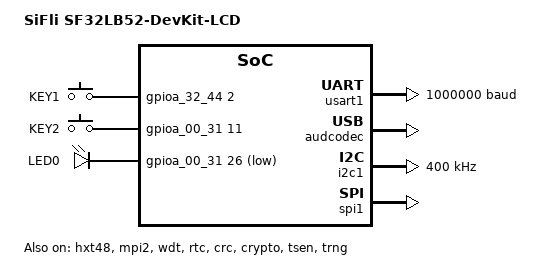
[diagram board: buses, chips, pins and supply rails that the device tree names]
/*
 * Copyright (c) 2025 Core Devices LLC
 * SPDX-License-Identifier: Apache-2.0
 */

/dts-v1/;

#include <sifli/sf32lb52x.dtsi>
#include <sifli/sf32lb52x-ram012.dtsi>
#include <zephyr/dt-bindings/dma/sf32lb52x-dma.h>
#include <zephyr/dt-bindings/gpio/gpio.h>
#include <zephyr/dt-bindings/i2c/i2c.h>
#include <zephyr/dt-bindings/input/input-event-codes.h>

#include "sf32lb52_devkit_lcd-pinctrl.dtsi"

/ {
	compatible = "sifli,sf32lb52-devkit-lcd";
	model = "SiFli SF32LB52-DevKit-LCD";

	chosen {
		zephyr,flash = &py25q128ha;
		zephyr,flash-controller = &mpi2;
		zephyr,code-partition = &code;
		zephyr,console = &usart1;
		zephyr,shell-uart = &usart1;
		zephyr,crc = &crc;
		zephyr,entropy = &trng;
		zephyr,bt-hci = &mailbox;
	};

	buttons {
		compatible = "gpio-keys";

		key1: key1 {
			label = "KEY1";
			gpios = <&gpioa_32_44 2 GPIO_ACTIVE_HIGH>;
			zephyr,code = <INPUT_KEY_1>;
		};

		key2: key2 {
			label = "KEY2";
			gpios = <&gpioa_00_31 11 GPIO_ACTIVE_HIGH>;
			zephyr,code = <INPUT_KEY_2>;
		};
	};

	leds {
		compatible = "gpio-leds";

		led0: led0 {
			label = "LED0";
			gpios = <&gpioa_00_31 26 GPIO_ACTIVE_LOW>;
		};
	};

	aliases {
		codec0 = &audcodec;
		led0 = &led0;
		sw0 = &key1;
		sw1 = &key2;
		rtc = &rtc;
		watchdog0 = &wdt;
	};
};

&cpu0 {
	clock-frequency = <DT_FREQ_M(240)>;
};

&hxt48 {
	status = "okay";
};

&rcc_clk {

	sifli,hdiv = <1>;
	sifli,pdiv1 = <1>;
	sifli,pdiv2 = <6>;
	sifli,sys-clk-src = "dll1";
	status = "okay";

	dll1 {
		clock-frequency = <DT_FREQ_M(240)>;
		status = "okay";
	};
};

&rcc_rst {
	status = "okay";
};

&gpioa_00_31 {
	status = "okay";
};

&gpioa_32_44 {
	status = "okay";
};

&dmac {
	status = "okay";
};

&mpi2 {
	compatible = "sifli,sf32lb-mpi-qspi-nor";
	dmas = <&dmac 0 SF32LB52X_DMA_REQ_MPI2 SF32LB_DMA_PL_MEDIUM>;
	sifli,psclr = <0>;
	sifli,lines = <4>;
	status = "okay";

	py25q128ha: flash@0 {
		compatible = "puya,py25q128ha", "jedec,qspi-nor";
		reg = <0x0>;
		size = <DT_SIZE_M(128)>;
		quad-enable-requirements = "S2B1v1";

		partitions {
			compatible = "fixed-partitions";
			#address-cells = <1>;
			#size-cells = <1>;

			ptable: partition@0 {
				reg = <0x0 DT_SIZE_K(64)>;
				label = "ptable";
			};

			code: partition@10000 {
				reg = <0x10000 DT_SIZE_K(16320)>;
				label = "code";
			};
		};
	};
};

&pinctrl {
	status = "okay";
};

&usart1 {
	current-speed = <1000000>;
	pinctrl-0 = <&usart1_default>;
	pinctrl-names = "default";
	status = "okay";
};

&audcodec {
	dmas = <&dmac 1 SF32LB52X_DMA_REQ_AUDAC_CH0 SF32LB_DMA_PL_HIGH>,
	       <&dmac 4 SF32LB52X_DMA_REQ_AUDADC_CH0 SF32LB_DMA_PL_HIGH>;
	dma-names = "tx", "rx";
	pa-power-gpios = <&gpioa_00_31 10 GPIO_ACTIVE_HIGH>;
	status = "okay";
};

&wdt {
	status = "okay";
};

&rtc {
	status = "okay";
};

&i2c1 {
	pinctrl-0 = <&i2c1_default>;
	pinctrl-names = "default";
	clock-frequency = <I2C_BITRATE_FAST>;
	status = "okay";
};

&crc {
	status = "okay";
};

&crypto {
	status = "okay";
};

temp_sensor: &tsen {
	status = "okay";
};

&trng {
	status = "okay";
};

&mailbox {
	status = "okay";
};

&spi1 {
	pinctrl-0 = <&spi1_default>;
	pinctrl-names = "default";
	status = "okay";
};
